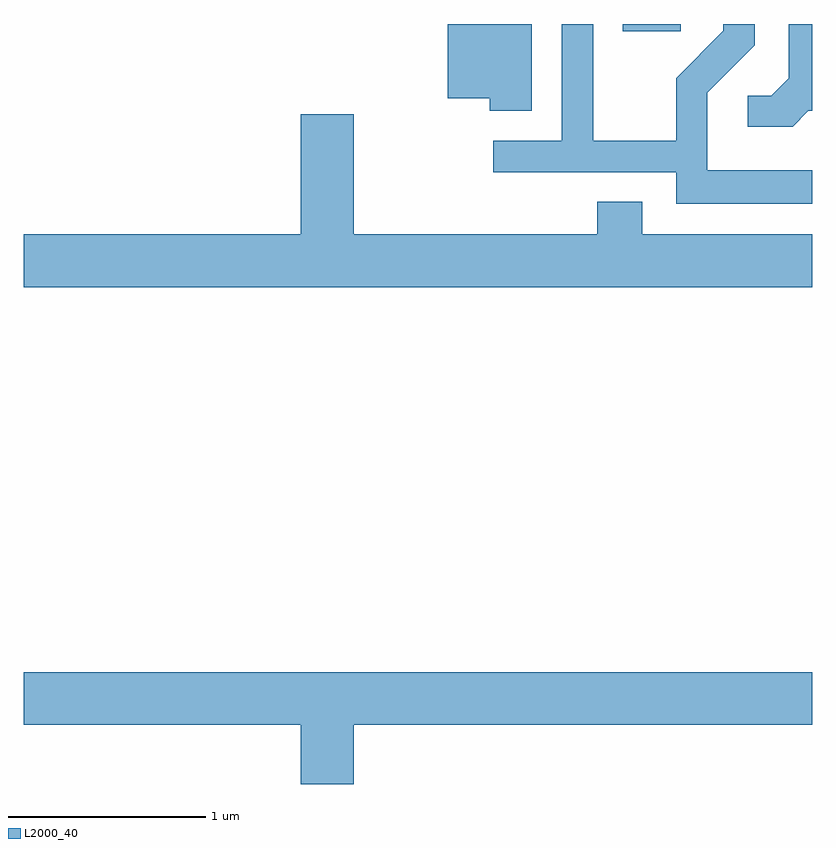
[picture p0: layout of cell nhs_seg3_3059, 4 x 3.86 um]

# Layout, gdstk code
import gdstk
lib = gdstk.Library(unit=1e-6, precision=1e-09)
def R(c, l, rs):  # rectangles x0, y0, x1, y1
    for r in rs: c.add(gdstk.rectangle(r[:2], r[2:], *l))
def P(c, l, *ps):  # polygons
    for p in ps: c.add(gdstk.Polygon(p, *l))
L2000_40 = (2000, 40)

nhs_seg3_3059 = lib.new_cell('nhs_seg3_3059')
R(nhs_seg3_3059, L2000_40, [(276.651,1253.856,276.944,1253.892)])
P(nhs_seg3_3059, L2000_40, [(277.611,1253.149),(277.079,1253.149),(277.079,1253.544),(277.319,1253.784),(277.319,1253.892),(277.161,1253.892),(277.161,1253.857),(276.921,1253.617),(276.921,1253.299),(276.499,1253.299),(276.499,1253.892),(276.341,1253.892),(276.341,1253.299),(275.993,1253.299),(275.993,1253.141),(276.921,1253.141),(276.921,1252.981),(277.611,1252.981)],
  [(276.189,1253.892),(275.761,1253.892),(275.761,1253.516),(275.976,1253.516),(275.976,1253.451),(276.189,1253.451)],
  [(277.592,1253.451),(277.611,1253.451),(277.611,1253.892),(277.491,1253.892),(277.491,1253.617),(277.404,1253.529),(277.283,1253.529),(277.283,1253.371),(277.512,1253.371)],
  [(277.611,1252.824),(276.749,1252.824),(276.749,1252.989),(276.521,1252.989),(276.521,1252.824),(275.284,1252.824),(275.284,1253.434),(275.016,1253.434),(275.016,1252.824),(273.611,1252.824),(273.611,1252.556),(277.611,1252.556)],
  [(275.284,1250.336),(277.611,1250.336),(277.611,1250.604),(273.611,1250.604),(273.611,1250.336),(275.016,1250.336),(275.016,1250.036),(275.284,1250.036)])

lib.write_gds('nhs_seg3_3059.gds')
